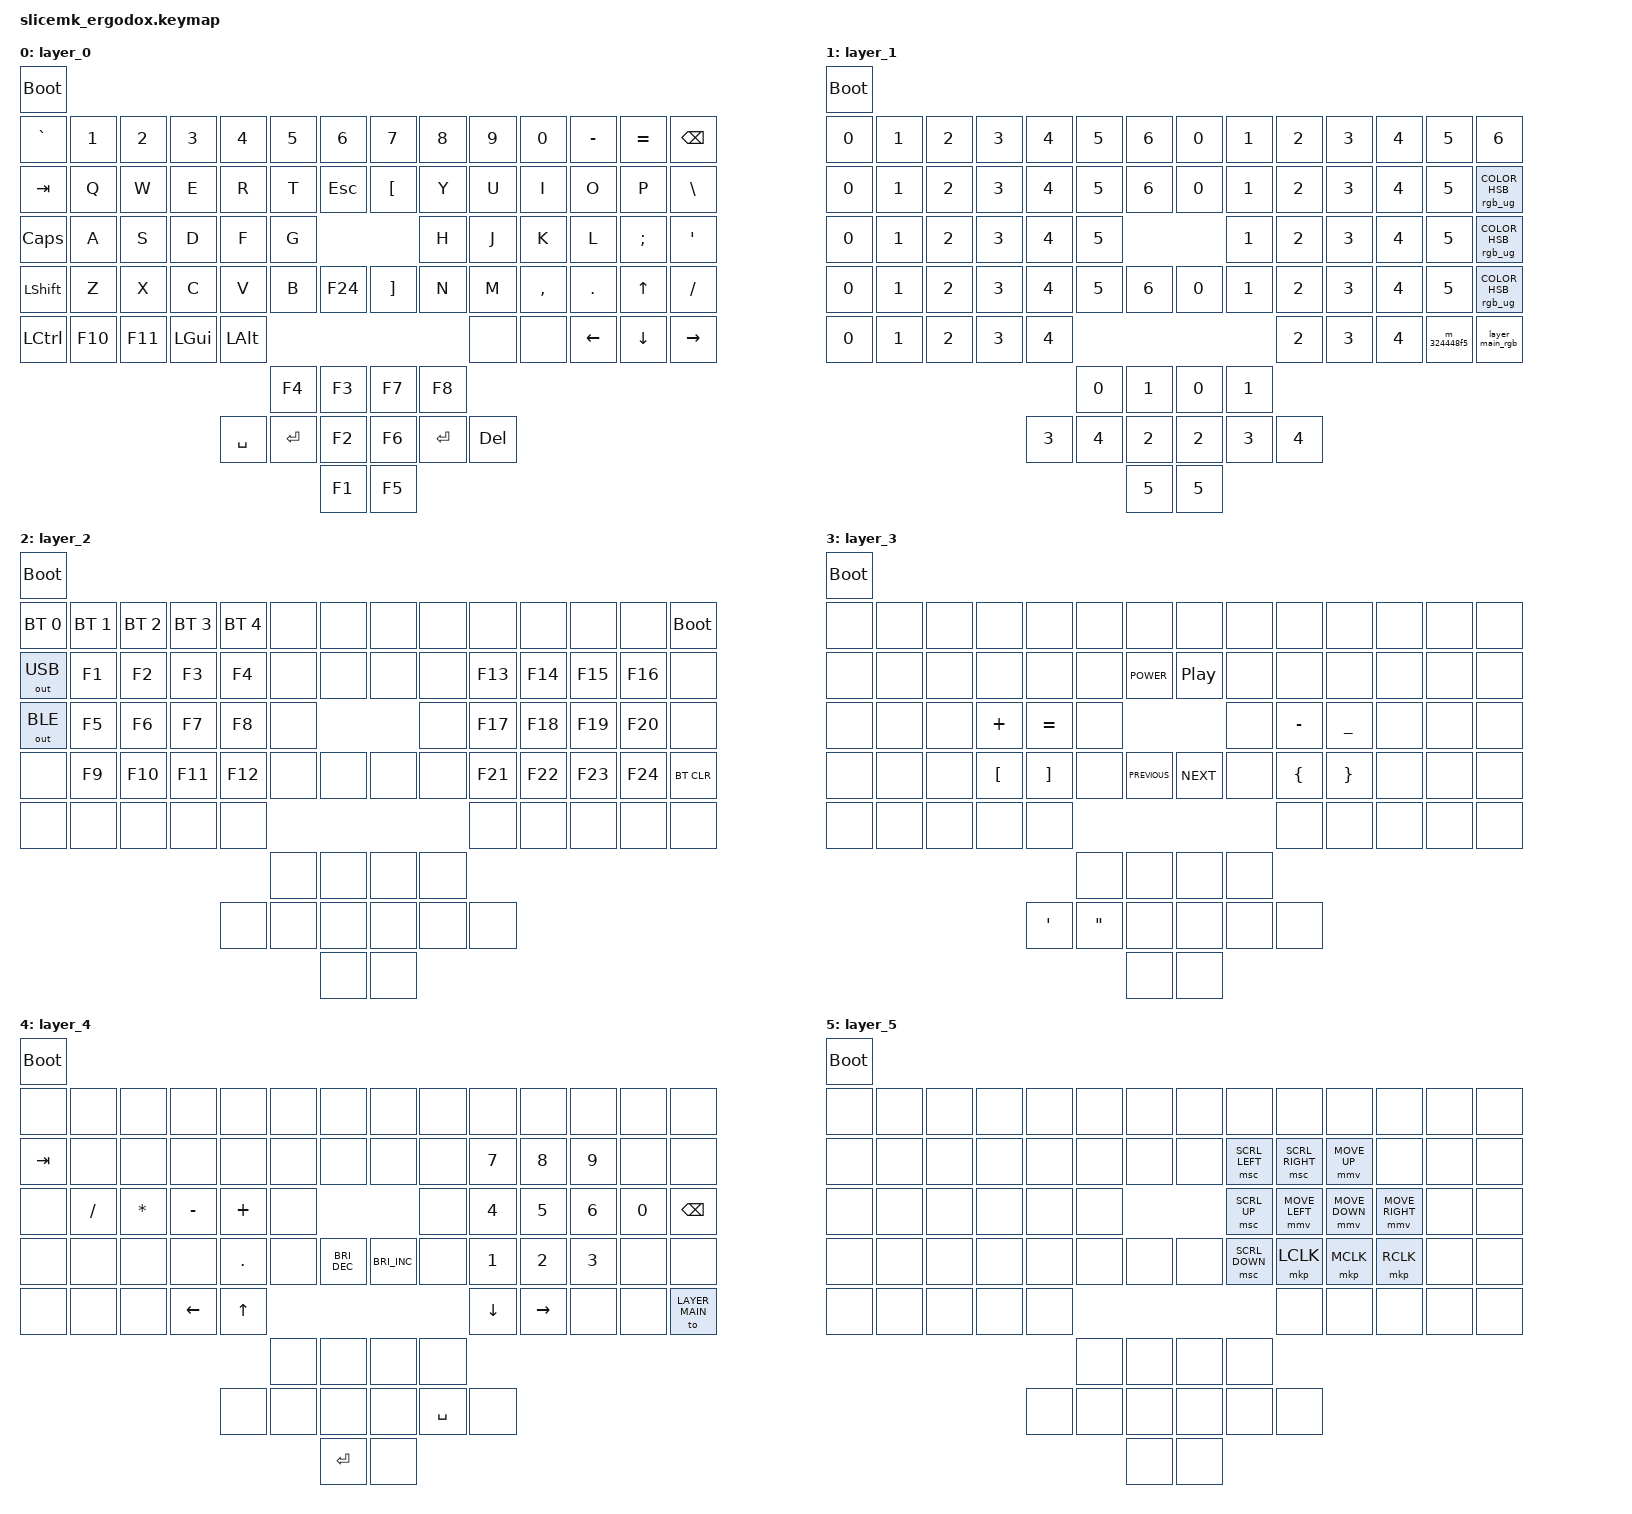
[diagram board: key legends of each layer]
#define LAYER_MAIN 0
#define LAYER_TESTING 1
#define LAYER_FN 2
#define LAYER_SYMB 3
#define LAYER_NMPAD 4
#define LAYER_MOUSE 5

#include <behaviors.dtsi>
#include <dt-bindings/zmk/bt.h>
#include <dt-bindings/zmk/keys.h>
#include <dt-bindings/zmk/mouse.h>
#include <dt-bindings/zmk/outputs.h>
#include <dt-bindings/zmk/rgb.h>

/ {
	ZMK_MACRO(
		layer_main_rgb,
		bindings =
			<&macro_press &mo LAYER_MAIN>,
			<&macro_tap &rgb_ug RGB_COLOR_HSB(360,100,40)>,
			<&macro_pause_for_release>,
			<&macro_release &mo LAYER_MAIN>,
			<&macro_tap &rgb_ug RGB_COLOR_HSB(0,100,0)>;
	)
};

/ {
	keymap {
		compatible = "zmk,keymap";
		layer_0 {
			bindings = <
				&bootloader
				&kp GRAVE        &kp NUMBER_1 &kp NUMBER_2 &kp NUMBER_3 &kp NUMBER_4 &kp NUMBER_5 &kp NUMBER_6 &kp NUMBER_7      &kp NUMBER_8 &kp NUMBER_9 &kp NUMBER_0 &kp MINUS      &kp EQUAL      &kp BACKSPACE
				&kp TAB          &kp Q        &kp W        &kp E        &kp R        &kp T        &kp ESCAPE   &kp LEFT_BRACKET  &kp Y        &kp U        &kp I        &kp O          &kp P          &kp BACKSLASH
				&kp CAPSLOCK     &kp A        &kp S        &kp D        &kp F        &kp G                                       &kp H        &kp J        &kp K        &kp L          &kp SEMICOLON  &kp SINGLE_QUOTE
				&kp LEFT_SHIFT   &kp Z        &kp X        &kp C        &kp V        &kp B        &kp F24      &kp RIGHT_BRACKET &kp N        &kp M        &kp COMMA    &kp PERIOD     &kp UP_ARROW   &kp SLASH
				&kp LEFT_CONTROL &kp F10      &kp F11      &kp LEFT_GUI &kp LEFT_ALT                                                          &none        &none        &kp LEFT_ARROW &kp DOWN_ARROW &kp RIGHT_ARROW
				                                                                     &kp F4       &kp F3       &kp F7            &kp F8
				                                                        &kp SPACE    &kp RETURN   &kp F2       &kp F6            &kp RETURN   &kp DELETE
				                                                                                  &kp F1       &kp F5
			>;
		};
		layer_1 {
			bindings = <
				&bootloader
				&kp NUMBER_0 &kp NUMBER_1 &kp NUMBER_2 &kp NUMBER_3 &kp NUMBER_4 &kp NUMBER_5 &kp NUMBER_6 &kp NUMBER_0 &kp NUMBER_1 &kp NUMBER_2 &kp NUMBER_3 &kp NUMBER_4 &kp NUMBER_5 &kp NUMBER_6
				&kp NUMBER_0 &kp NUMBER_1 &kp NUMBER_2 &kp NUMBER_3 &kp NUMBER_4 &kp NUMBER_5 &kp NUMBER_6 &kp NUMBER_0 &kp NUMBER_1 &kp NUMBER_2 &kp NUMBER_3 &kp NUMBER_4 &kp NUMBER_5 &rgb_ug RGB_COLOR_HSB(0,100,0)
				&kp NUMBER_0 &kp NUMBER_1 &kp NUMBER_2 &kp NUMBER_3 &kp NUMBER_4 &kp NUMBER_5                           &kp NUMBER_1 &kp NUMBER_2 &kp NUMBER_3 &kp NUMBER_4 &kp NUMBER_5 &rgb_ug RGB_COLOR_HSB(120,100,20)
				&kp NUMBER_0 &kp NUMBER_1 &kp NUMBER_2 &kp NUMBER_3 &kp NUMBER_4 &kp NUMBER_5 &kp NUMBER_6 &kp NUMBER_0 &kp NUMBER_1 &kp NUMBER_2 &kp NUMBER_3 &kp NUMBER_4 &kp NUMBER_5 &rgb_ug RGB_COLOR_HSB(240,100,20)
				&kp NUMBER_0 &kp NUMBER_1 &kp NUMBER_2 &kp NUMBER_3 &kp NUMBER_4                                                     &kp NUMBER_2 &kp NUMBER_3 &kp NUMBER_4 &m_324448f5  &layer_main_rgb
				                                                                 &kp NUMBER_0 &kp NUMBER_1 &kp NUMBER_0 &kp NUMBER_1
				                                                    &kp NUMBER_3 &kp NUMBER_4 &kp NUMBER_2 &kp NUMBER_2 &kp NUMBER_3 &kp NUMBER_4
				                                                                              &kp NUMBER_5 &kp NUMBER_5
			>;
		};
		layer_2 {
			bindings = <
				&bootloader
				&bt BT_SEL 0 &bt BT_SEL 1 &bt BT_SEL 2 &bt BT_SEL 3 &bt BT_SEL 4 &none &none &none &none &none   &none   &none   &none   &bootloader
				&out OUT_USB &kp F1       &kp F2       &kp F3       &kp F4       &none &none &none &none &kp F13 &kp F14 &kp F15 &kp F16 &none
				&out OUT_BLE &kp F5       &kp F6       &kp F7       &kp F8       &none             &none &kp F17 &kp F18 &kp F19 &kp F20 &none
				&none        &kp F9       &kp F10      &kp F11      &kp F12      &none &none &none &none &kp F21 &kp F22 &kp F23 &kp F24 &bt BT_CLR
				&none        &none        &none        &none        &none                                &none   &none   &none   &none   &none
				                                                                 &none &none &none &none
				                                                    &none        &none &none &none &none &none
				                                                                       &none &none
			>;
		};
		layer_3 {
			bindings = <
				&bootloader
				&none &none &none &none            &none             &none             &none          &none            &none &none          &none           &none &none &none
				&none &none &none &none            &none             &none             &kp C_POWER    &kp C_PLAY_PAUSE &none &none          &none           &none &none &none
				&none &none &none &kp PLUS         &kp EQUAL         &none                                             &none &kp MINUS      &kp UNDERSCORE  &none &none &none
				&none &none &none &kp LEFT_BRACKET &kp RIGHT_BRACKET &none             &kp C_PREVIOUS &kp C_NEXT       &none &kp LEFT_BRACE &kp RIGHT_BRACE &none &none &none
				&none &none &none &none            &none                                                                     &none          &none           &none &none &none
				                                                     &none             &none          &none            &none
				                                   &kp SINGLE_QUOTE  &kp DOUBLE_QUOTES &none          &none            &none &none
				                                                                       &none          &none
			>;
		};
		layer_4 {
			bindings = <
				&bootloader
				&none   &none     &none        &none          &none        &none &none                &none                &none     &none          &none           &none        &none        &none
				&kp TAB &none     &none        &none          &none        &none &none                &none                &none     &kp NUMBER_7   &kp NUMBER_8    &kp NUMBER_9 &none        &none
				&none   &kp SLASH &kp ASTERISK &kp MINUS      &kp PLUS     &none                                           &none     &kp NUMBER_4   &kp NUMBER_5    &kp NUMBER_6 &kp NUMBER_0 &kp BACKSPACE
				&none   &none     &none        &none          &kp PERIOD   &none &kp C_BRIGHTNESS_DEC &kp C_BRIGHTNESS_INC &none     &kp NUMBER_1   &kp NUMBER_2    &kp NUMBER_3 &none        &none
				&none   &none     &none        &kp LEFT_ARROW &kp UP_ARROW                                                           &kp DOWN_ARROW &kp RIGHT_ARROW &none        &none        &to LAYER_MAIN
				                                                           &none &none                &none                &none
				                                              &none        &none &none                &none                &kp SPACE &none
				                                                                 &kp RETURN           &none
			>;
		};
		layer_5 {
			bindings = <
				&bootloader
				&none &none &none &none &none &none &none &none &none          &none           &none          &none           &none &none
				&none &none &none &none &none &none &none &none &msc SCRL_LEFT &msc SCRL_RIGHT &mmv MOVE_UP   &none           &none &none
				&none &none &none &none &none &none             &msc SCRL_UP   &mmv MOVE_LEFT  &mmv MOVE_DOWN &mmv MOVE_RIGHT &none &none
				&none &none &none &none &none &none &none &none &msc SCRL_DOWN &mkp LCLK       &mkp MCLK      &mkp RCLK       &none &none
				&none &none &none &none &none                                  &none           &none          &none           &none &none
				                              &none &none &none &none
				                        &none &none &none &none &none          &none
				                                    &none &none
			>;
		};
	};
	ZMK_MACRO(m_324448f5, wait-ms = <10>; tap-ms = <10>; bindings = <&macro_tap &kp T &kp E &kp S &kp T &kp EXCLAMATION>;)
};
